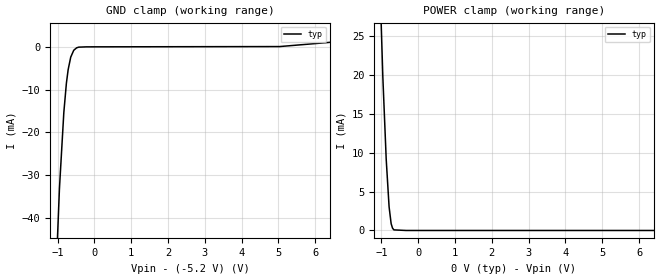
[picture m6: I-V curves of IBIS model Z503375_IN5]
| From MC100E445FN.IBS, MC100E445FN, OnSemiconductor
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| (C) COPYRIGHT 1993-2000
| MENTOR GRAPHICS CORPORATION
| ICX STANDARD LIBRARY, ICX PROJECT MODELING,
| ICX CUSTOM MODELING, ICX VENDOR MODEL
| ALL RIGHTS RESERVED.
| THE FOLLOWING ARE TRADEMARKS OR SERVICE MARKS OF
| MENTOR GRAPHICS CORPORATION:ICX (R), ICX STANDARD
| LIBRARY(R), ICX PROJECT MODELING(R), ICX CUSTOM
| MODELING(R), qualityIBIS(TM), MODELVIEWER(TM),
| AND MODELEDITOR(TM)
| ALL COPIES OF SOFTWARE, INCLUDING BUT NOT LIMITED TO
| ANY MODIFICATIONS, ENHANCEMENTS OR DERIVATIVE WORKS,
| MUST CONTAIN ALL MENTOR GRAPHICS CORPORATION'S
| NOTICES AND LEGENDS, INCLUDING THOSE EMBEDDED IN
| SOFTWARE AND THOSE AFFIXED TO SOFTWARE MEDIUM
| AND CONTAINER, AS RECEIVED FROM MENTOR GRAPHICS
| CORPORATION.
| Model Application Version 1.89 2/18/99.
[Model] Z503375_IN5
Model_type Input_ECL
Vinl = -1.475V
Vinh = -1.165V
C_comp 4.000pF NA NA
| variable typ   min   max
[Voltage Range] -5.200V NA NA
[GND Clamp Reference] -5.200V NA NA
[POWER Clamp Reference] 0.000V NA NA
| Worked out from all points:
|   GND clamp passes 1 mA (typ) near -0.57 V on its own axis
|   POWER clamp passes 1 mA (typ) near -0.74 V on its own axis
[GND Clamp]
-5.2V     -950.7mA   NA         NA
-951mV    -33.17mA   NA         NA
-832mV    -15.39mA   NA         NA
-762mV    -8.519mA   NA         NA
-714mV    -5.336mA   NA         NA
-644mV    -2.418mA   NA         NA
-562mV    -819.3uA   NA         NA
-484mV    -247.4uA   NA         NA
-426mV    -89.07uA   NA         NA
-213mV    -19.84uA   NA         NA
5.031V    45.64uA    NA         NA
10.4V     3.932mA    NA         NA
[POWER Clamp]
-5.2V     1.295A     NA         NA
-1.152V   55.83mA    NA         NA
-1.055V   34.17mA    NA         NA
-960.9mV  19.79mA    NA         NA
-869.1mV  9.162mA    NA         NA
-790.9mV  3.047mA    NA         NA
-734.9mV  873.1uA    NA         NA
-698.2mV  313.1uA    NA         NA
-660.8mV  77.44uA    NA         NA
-330.4mV  0A         NA         NA
10.4V     0A         NA         NA
